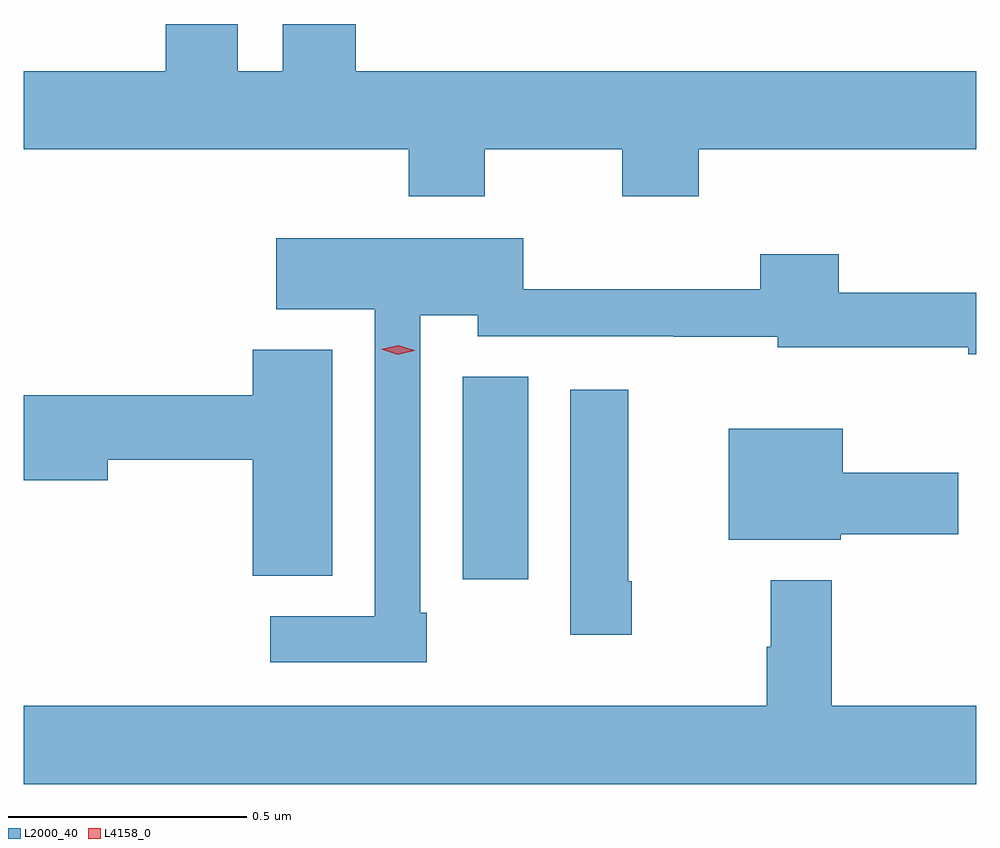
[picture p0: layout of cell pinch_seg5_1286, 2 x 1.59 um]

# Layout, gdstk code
import gdstk
lib = gdstk.Library(unit=1e-6, precision=1e-09)
def R(c, l, rs):  # rectangles x0, y0, x1, y1
    for r in rs: c.add(gdstk.rectangle(r[:2], r[2:], *l))
def P(c, l, *ps):  # polygons
    for p in ps: c.add(gdstk.Polygon(p, *l))
L2000_40 = (2000, 40)
L4158_0 = (4158, 0)

pinch_seg5_1286 = lib.new_cell('pinch_seg5_1286')
R(pinch_seg5_1286, L2000_40, [(424.211,879.834,424.348,880.259)])
P(pinch_seg5_1286, L2000_40, [(424.257,880.736),(424.546,880.736),(424.546,880.637),(424.706,880.637),(424.706,880.736),(425.289,880.736),(425.289,880.9),(423.986,880.9),(423.986,880.999),(423.833,880.999),(423.833,880.9),(423.739,880.9),(423.739,880.999),(423.587,880.999),(423.587,880.9),(423.289,880.9),(423.289,880.736),(424.097,880.736),(424.097,880.637),(424.257,880.637)],
  [(424.135,879.763),(424.122,879.763),(424.122,880.388),(424.242,880.388),(424.242,880.344),(424.654,880.344),(424.654,880.343),(424.872,880.343),(424.872,880.321),(425.272,880.321),(425.272,880.306),(425.289,880.306),(425.289,880.435),(425,880.435),(425,880.516),(424.835,880.516),(424.835,880.442),(424.338,880.442),(424.338,880.549),(423.819,880.549),(423.819,880.4),(424.026,880.4),(424.026,879.756),(423.807,879.756),(423.807,879.66),(424.135,879.66)],
  [(423.937,880.315),(423.77,880.315),(423.77,880.22),(423.289,880.22),(423.289,880.042),(423.466,880.042),(423.466,880.084),(423.77,880.084),(423.77,879.841),(423.937,879.841)],
  [(424.566,879.829),(424.558,879.829),(424.558,880.231),(424.436,880.231),(424.436,879.717),(424.566,879.717)],
  [(425.004,879.928),(425.251,879.928),(425.251,880.057),(425.008,880.057),(425.008,880.15),(424.769,880.15),(424.769,879.917),(425.004,879.917)],
  [(425.289,879.568),(424.985,879.568),(424.985,879.832),(424.857,879.832),(424.857,879.692),(424.849,879.692),(424.849,879.568),(423.289,879.568),(423.289,879.404),(425.289,879.404)])
P(pinch_seg5_1286, L4158_0, [(424.074,880.305),(424.04,880.316),(424.04,880.316),(424.04,880.316),(424.075,880.325),(424.109,880.314),(424.11,880.314),(424.109,880.313)])

lib.write_gds('pinch_seg5_1286.gds')
